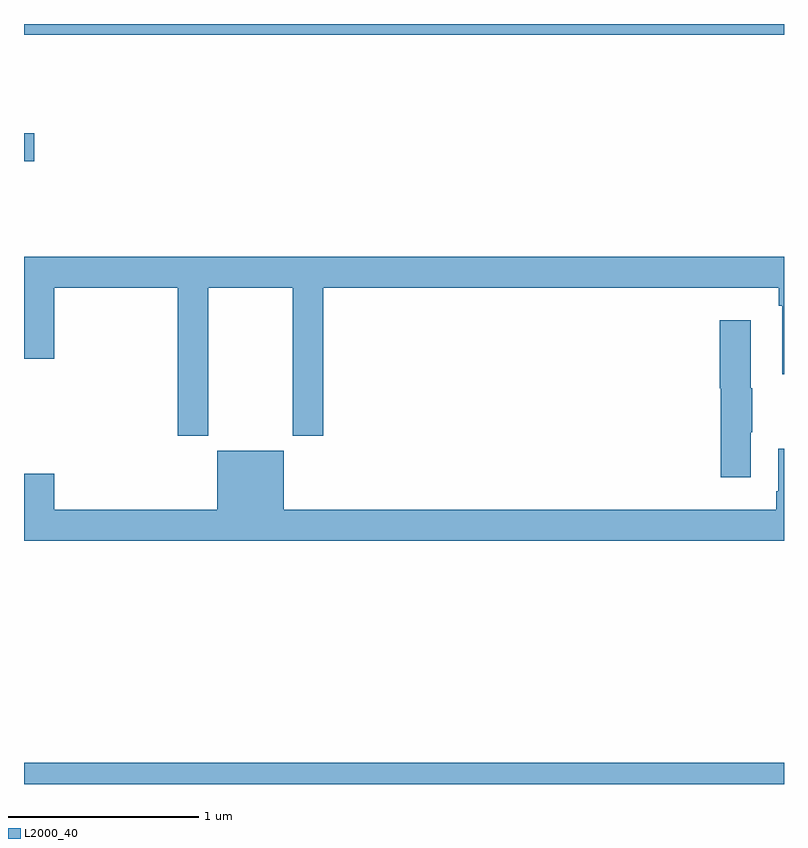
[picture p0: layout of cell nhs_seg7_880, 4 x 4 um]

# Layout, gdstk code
import gdstk
lib = gdstk.Library(unit=1e-6, precision=1e-09)
def R(c, l, rs):  # rectangles x0, y0, x1, y1
    for r in rs: c.add(gdstk.rectangle(r[:2], r[2:], *l))
def P(c, l, *ps):  # polygons
    for p in ps: c.add(gdstk.Polygon(p, *l))
L2000_40 = (2000, 40)

nhs_seg7_880 = lib.new_cell('nhs_seg7_880')
R(nhs_seg7_880, L2000_40, [(177,1002,181,1002.112), (177,1005.278,177.055,1005.425), (177,1005.944,181,1006)])
P(nhs_seg7_880, L2000_40, [(177.969,1004.612),(178.414,1004.612),(178.414,1003.833),(178.574,1003.833),(178.574,1004.612),(180.973,1004.612),(180.973,1004.516),(180.992,1004.516),(180.992,1004.157),(181,1004.157),(181,1004.776),(177,1004.776),(177,1004.238),(177.16,1004.238),(177.16,1004.612),(177.809,1004.612),(177.809,1003.833),(177.969,1003.833)],
  [(180.826,1003.852),(180.834,1003.852),(180.834,1004.082),(180.826,1004.082),(180.826,1004.44),(180.662,1004.44),(180.662,1004.082),(180.668,1004.082),(180.668,1003.614),(180.826,1003.614)],
  [(181,1003.765),(180.971,1003.765),(180.971,1003.54),(180.959,1003.54),(180.959,1003.444),(178.366,1003.444),(178.366,1003.753),(178.016,1003.753),(178.016,1003.444),(177.16,1003.444),(177.16,1003.633),(177,1003.633),(177,1003.28),(181,1003.28)])

lib.write_gds('nhs_seg7_880.gds')
